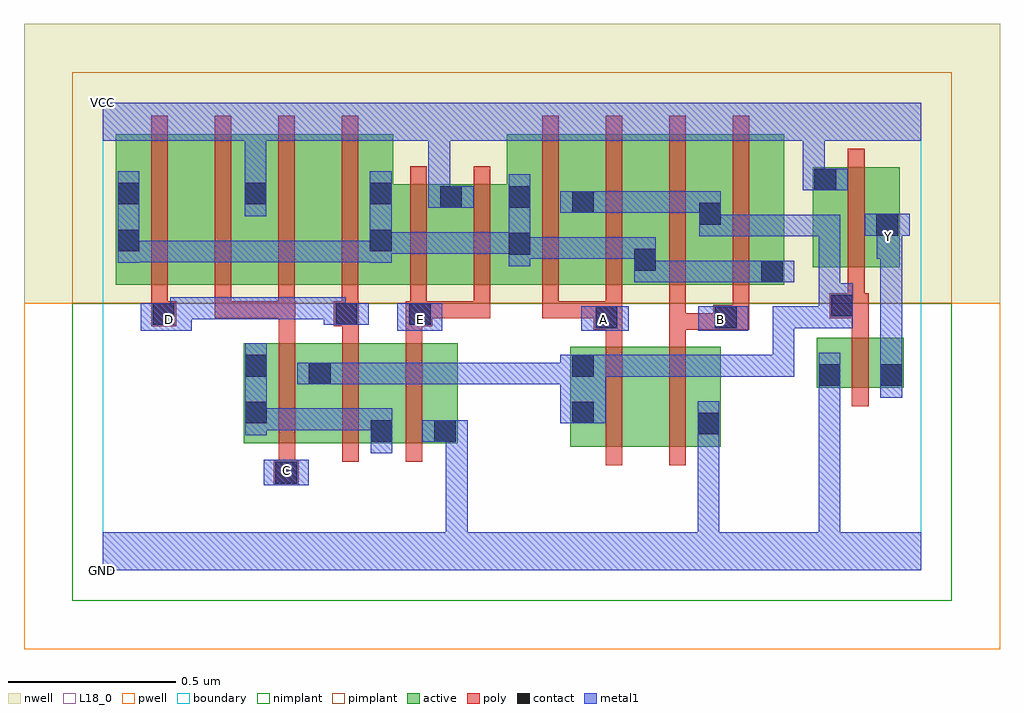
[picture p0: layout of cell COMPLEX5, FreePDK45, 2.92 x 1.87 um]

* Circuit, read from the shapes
.subckt COMPLEX5 A B C D E GND VCC Y
M1 n1 C n2 VSUBS nfet w=0.3u l=0.05u
M2 n2 D n1 VSUBS nfet w=0.3u l=0.05u
M3 GND E n2 VSUBS nfet w=0.3u l=0.05u
M4 n3 A n1 VSUBS nfet w=0.3u l=0.05u
M5 GND B n3 VSUBS nfet w=0.3u l=0.05u
M6 Y n1 GND VSUBS nfet w=0.15u l=0.05u
M7 n4 D n5 n6 pfet w=0.45u l=0.05u
M8 VCC C n4 n6 pfet w=0.45u l=0.05u
M9 n7 C VCC n6 pfet w=0.45u l=0.05u
M10 n5 D n7 n6 pfet w=0.45u l=0.05u
M11 VCC E n5 n6 pfet w=0.3u l=0.05u m=2
M12 n1 A n5 n6 pfet w=0.45u l=0.05u m=2
M13 n1 B n5 n6 pfet w=0.45u l=0.05u m=2
M14 Y n1 VCC n6 pfet w=0.3u l=0.05u
.ends

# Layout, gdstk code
import gdstk
lib = gdstk.Library(unit=1e-6, precision=1e-09)
def R(c, l, rs):  # rectangles x0, y0, x1, y1
    for r in rs: c.add(gdstk.rectangle(r[:2], r[2:], *l))
def A(c, l, x, y, w, h, nx, ny, dx, dy):  # array of equal rectangles
    R(c, l, [(x+i*dx, y+j*dy, x+i*dx+w, y+j*dy+h) for i in range(nx) for j in range(ny)])
active = (1, 0)
pwell = (2, 0)
nwell = (3, 0)
nimplant = (4, 0)
pimplant = (5, 0)
poly = (9, 0)
contact = (10, 0)
metal1 = (11, 0)
L18_0 = (18, 0)
boundary = (235, 0)

complex5 = lib.new_cell('COMPLEX5')
R(complex5, active, [(1.4,0.37,1.625,0.67), (1.625,0.37,1.85,0.67), (1.775,0.37,1.85,0.547), (0.422,0.38,0.687,0.68), (0.612,0.38,0.872,0.68), (0.797,0.38,1.062,0.68), (0.797,0.38,0.872,0.547), (0.987,0.38,1.062,0.68), (1.4,0.382,1.475,0.67), (0.422,0.407,0.497,0.68), (0.612,0.445,0.687,0.627), (2.137,0.547,2.212,0.697), (2.137,0.547,2.397,0.697), (2.322,0.547,2.397,0.697), (0.04,0.855,0.265,1.305), (0.04,0.855,0.145,1.2), (0.265,0.855,0.495,1.305), (0.42,0.855,0.645,1.305), (0.645,0.855,0.87,1.305), (0.795,0.855,0.87,1.2), (0.795,0.855,1.08,1.155), (1.005,0.855,1.285,1.155), (1.21,0.855,1.475,1.305), (1.21,0.855,1.285,1.2), (1.4,0.855,1.66,1.305), (1.585,0.855,1.855,1.305), (1.78,0.855,2.04,1.305), (1.965,0.855,2.04,1.047), (0.42,0.857,0.495,1.305), (1.4,0.857,1.475,1.2), (1.585,0.857,1.66,1.07), (1.78,0.857,1.855,1.2), (2.125,0.907,2.385,1.207), (2.31,0.907,2.385,1.2), (1.005,1.007,1.08,1.155), (2.125,1.007,2.2,1.207)])
R(complex5, pwell, [(-0.235,-0.235,2.685,0.8)])
R(complex5, nwell, [(-0.235,0.8,2.685,1.635)])
R(complex5, nimplant, [(-0.09,-0.09,2.54,0.8)])
R(complex5, pimplant, [(-0.09,0.8,2.54,1.49)])
A(complex5, poly, 0.527, 0.325, 0.05, 0.41, 3, 1, 0.19, 0)
A(complex5, poly, 0.145, 0.755, 0.05, 0.095, 4, 1, 0.19, 0)
A(complex5, poly, 0.145, 0.8, 0.05, 0.56, 4, 1, 0.19, 0)
A(complex5, poly, 1.315, 0.8, 0.05, 0.56, 4, 1, 0.19, 0)
R(complex5, poly, [(0.512,0.255,0.587,0.33), (0.527,0.28,0.577,0.375), (1.505,0.315,1.555,0.77), (1.695,0.315,1.745,0.725), (2.242,0.492,2.292,0.752), (1.695,0.675,1.745,0.77), (0.527,0.685,0.577,0.805), (0.717,0.685,0.767,0.78), (0.907,0.685,0.957,0.78), (2.242,0.702,2.292,0.805), (1.47,0.72,1.555,0.805), (1.505,0.72,1.555,0.77), (1.695,0.72,1.745,0.77), (1.695,0.72,1.877,0.77), (1.695,0.72,1.745,0.85), (1.827,0.72,1.877,0.77), (1.827,0.72,1.877,0.77), (1.827,0.72,1.935,0.795), (0.145,0.73,0.22,0.805), (0.692,0.73,0.767,0.805), (0.907,0.73,0.987,0.805), (1.885,0.745,1.935,0.85), (0.335,0.755,0.385,0.805), (0.335,0.755,0.385,0.805), (0.335,0.755,0.385,0.805), (0.335,0.755,0.575,0.805), (0.525,0.755,0.577,0.805), (0.92,0.755,0.97,0.85), (0.937,0.755,0.987,0.805), (0.937,0.755,0.987,0.805), (0.937,0.755,1.16,0.805), (1.11,0.755,1.16,0.805), (1.11,0.755,1.16,0.85), (1.315,0.755,1.365,0.805), (1.315,0.755,1.365,0.805), (1.315,0.755,1.365,0.805), (1.315,0.755,1.365,0.85), (1.315,0.755,1.52,0.805), (1.505,0.755,1.555,0.85), (2.175,0.755,2.292,0.83), (2.23,0.78,2.28,0.902), (0.92,0.8,0.97,1.21), (1.11,0.8,1.16,1.21), (2.23,0.852,2.28,1.262)])
R(complex5, contact, [(0.517,0.26,0.582,0.325), (0.802,0.385,0.867,0.45), (0.992,0.385,1.057,0.45), (1.78,0.407,1.845,0.472), (0.427,0.44,0.492,0.505), (1.405,0.44,1.47,0.505), (2.142,0.552,2.207,0.617), (2.327,0.552,2.392,0.617), (0.617,0.557,0.682,0.622), (0.427,0.58,0.492,0.645), (1.405,0.58,1.47,0.645), (1.475,0.725,1.54,0.79), (1.832,0.725,1.897,0.79), (0.15,0.735,0.215,0.8), (0.697,0.735,0.762,0.8), (0.917,0.735,0.982,0.8), (2.18,0.76,2.245,0.825), (1.97,0.862,2.035,0.927), (1.59,0.897,1.655,0.962), (1.215,0.945,1.28,1.01), (0.045,0.955,0.11,1.02), (0.8,0.955,0.865,1.02), (2.315,1.002,2.38,1.067), (1.785,1.035,1.85,1.1), (1.405,1.07,1.47,1.135), (1.01,1.085,1.075,1.15), (1.215,1.085,1.28,1.15), (0.045,1.095,0.11,1.16), (0.425,1.095,0.49,1.16), (0.8,1.095,0.865,1.16), (2.13,1.137,2.195,1.202)])
R(complex5, metal1, [(0,0,2.45,0.115), (1.027,0.05,1.092,0.115), (1.027,0.05,1.092,0.115), (1.027,0.05,1.092,0.115), (1.027,0.05,1.092,0.115), (1.027,0.05,1.092,0.115), (1.027,0.05,1.092,0.115), (1.027,0.05,1.092,0.45), (1.78,0.05,1.845,0.115), (1.78,0.05,1.845,0.115), (1.78,0.05,1.845,0.437), (2.142,0.05,2.207,0.582), (0.482,0.255,0.617,0.332), (0.802,0.35,0.867,0.485), (1.78,0.372,1.845,0.437), (1.78,0.372,1.845,0.437), (1.78,0.372,1.845,0.437), (1.78,0.372,1.845,0.437), (1.78,0.372,1.845,0.507), (0.957,0.385,1.092,0.45), (0.427,0.405,0.492,0.68), (0.427,0.42,0.58,0.485), (0.515,0.42,0.58,0.485), (0.515,0.42,0.727,0.485), (0.662,0.42,0.727,0.485), (0.662,0.42,0.727,0.485), (0.662,0.42,0.727,0.485), (0.662,0.42,0.867,0.485), (1.37,0.44,1.505,0.645), (2.142,0.517,2.207,0.582), (2.142,0.517,2.207,0.582), (2.142,0.517,2.207,0.582), (2.142,0.517,2.207,0.582), (2.142,0.517,2.207,0.582), (2.142,0.517,2.207,0.582), (2.142,0.517,2.207,0.582), (2.142,0.517,2.207,0.582), (2.142,0.517,2.207,0.652), (2.327,0.517,2.392,0.652), (0.582,0.557,0.717,0.622), (0.652,0.557,0.717,0.622), (0.652,0.557,0.717,0.622), (0.652,0.557,0.867,0.622), (0.802,0.557,0.867,0.622), (0.802,0.557,0.867,0.622), (0.802,0.557,0.867,0.622), (0.802,0.557,1.005,0.622), (0.94,0.557,1.005,0.622), (0.94,0.557,1.005,0.622), (0.94,0.557,1.005,0.622), (0.94,0.557,1.142,0.622), (1.077,0.557,1.142,0.622), (1.077,0.557,1.142,0.622), (1.077,0.557,1.142,0.622), (1.077,0.557,1.435,0.622), (1.44,0.58,1.505,0.645), (1.44,0.58,1.505,0.645), (1.44,0.58,1.642,0.645), (1.577,0.58,1.642,0.645), (1.577,0.58,1.642,0.645), (1.577,0.58,1.642,0.645), (1.577,0.58,1.862,0.645), (1.797,0.58,1.862,0.645), (1.797,0.58,2.022,0.645), (1.957,0.58,2.022,0.645), (1.957,0.58,2.07,0.645), (2.005,0.58,2.07,0.79), (2.327,0.587,2.392,0.997), (0.115,0.717,0.267,0.8), (0.882,0.717,1.017,0.8), (1.432,0.717,1.575,0.79), (1.782,0.717,1.932,0.79), (2.005,0.725,2.207,0.79), (2.142,0.725,2.207,0.79), (2.142,0.725,2.207,0.79), (2.142,0.725,2.207,0.79), (2.142,0.725,2.245,0.79), (2.142,0.725,2.207,1.065), (2.18,0.725,2.245,0.86), (0.202,0.735,0.267,0.8), (0.202,0.735,0.267,0.817), (0.662,0.735,0.727,0.8), (0.662,0.735,0.797,0.8), (0.662,0.735,0.727,0.817), (0.202,0.752,0.405,0.817), (0.34,0.752,0.405,0.817), (0.34,0.752,0.405,0.817), (0.34,0.752,0.405,0.817), (0.34,0.752,0.58,0.817), (0.515,0.752,0.58,0.817), (0.515,0.752,0.727,0.817), (1.59,0.862,1.655,0.927), (1.59,0.862,1.655,0.927), (1.59,0.862,1.655,0.997), (1.59,0.862,1.862,0.927), (1.797,0.862,1.862,0.927), (1.797,0.862,2,0.927), (1.935,0.862,2,0.927), (1.935,0.862,2,0.927), (1.935,0.862,2.07,0.927), (1.215,0.91,1.28,1.185), (0.045,0.92,0.11,1.195), (0.8,0.92,0.865,1.195), (0.045,0.922,0.11,0.987), (0.045,0.922,0.11,0.987), (0.045,0.922,0.247,0.987), (0.182,0.922,0.247,0.987), (0.182,0.922,0.405,0.987), (0.34,0.922,0.405,0.987), (0.34,0.922,0.405,0.987), (0.34,0.922,0.405,0.987), (0.34,0.922,0.542,0.987), (0.477,0.922,0.542,0.987), (0.477,0.922,0.727,0.987), (0.662,0.922,0.727,0.987), (0.662,0.922,0.727,0.987), (0.662,0.922,0.727,0.987), (0.662,0.922,0.865,0.987), (1.215,0.932,1.28,0.997), (1.215,0.932,1.28,0.997), (1.215,0.932,1.505,0.997), (1.44,0.932,1.505,0.997), (1.44,0.932,1.505,0.997), (1.44,0.932,1.505,0.997), (1.44,0.932,1.655,0.997), (2.317,0.932,2.392,1.067), (0.8,0.947,0.865,1.012), (0.8,0.947,0.865,1.012), (0.8,0.947,1.005,1.012), (0.94,0.947,1.005,1.012), (0.94,0.947,1.005,1.012), (0.94,0.947,1.005,1.012), (0.94,0.947,1.28,1.012), (1.785,1,1.85,1.135), (1.785,1,2.022,1.065), (1.957,1,2.022,1.065), (1.957,1,2.022,1.065), (1.957,1,2.022,1.065), (1.957,1,2.207,1.065), (2.142,1,2.207,1.065), (2.142,1,2.207,1.065), (2.142,1,2.207,1.065), (2.28,1.002,2.415,1.067), (2.317,1.002,2.382,1.067), (0.425,1.06,0.49,1.195), (1.37,1.07,1.505,1.135), (1.44,1.07,1.505,1.135), (1.44,1.07,1.505,1.135), (1.44,1.07,1.642,1.135), (1.577,1.07,1.642,1.135), (1.577,1.07,1.642,1.135), (1.577,1.07,1.642,1.135), (1.577,1.07,1.85,1.135), (0.975,1.085,1.11,1.15), (0.975,1.085,1.04,1.35), (0.425,1.13,0.49,1.35), (2.095,1.137,2.16,1.202), (2.095,1.137,2.16,1.202), (2.095,1.137,2.23,1.202), (2.095,1.137,2.16,1.35), (0,1.285,2.45,1.4), (0.975,1.285,1.04,1.35), (0.975,1.285,1.04,1.35)])
R(complex5, L18_0, [(0,0,2.45,0.115), (1.027,0.05,1.092,0.115), (1.027,0.05,1.092,0.115), (1.027,0.05,1.092,0.115), (1.027,0.05,1.092,0.115), (1.027,0.05,1.092,0.115), (1.027,0.05,1.092,0.115), (1.027,0.05,1.092,0.45), (1.78,0.05,1.845,0.115), (1.78,0.05,1.845,0.115), (1.78,0.05,1.845,0.437), (2.142,0.05,2.207,0.582), (0.482,0.255,0.617,0.332), (0.517,0.267,0.582,0.332), (1.78,0.372,1.845,0.437), (1.78,0.372,1.845,0.437), (1.78,0.372,1.845,0.437), (1.78,0.372,1.845,0.437), (1.78,0.372,1.845,0.507), (0.957,0.385,1.092,0.45), (2.142,0.517,2.207,0.582), (2.142,0.517,2.207,0.582), (2.142,0.517,2.207,0.582), (2.142,0.517,2.207,0.582), (2.142,0.517,2.207,0.582), (2.142,0.517,2.207,0.582), (2.142,0.517,2.207,0.582), (2.142,0.517,2.207,0.582), (2.142,0.517,2.207,0.652), (2.327,0.517,2.392,0.652), (2.327,0.587,2.392,0.997), (0.115,0.717,0.267,0.8), (0.167,0.717,0.232,0.782), (0.882,0.717,1.017,0.8), (0.917,0.717,0.982,0.782), (1.432,0.717,1.575,0.79), (1.467,0.717,1.532,0.782), (1.782,0.717,1.932,0.79), (1.817,0.717,1.882,0.782), (0.202,0.735,0.267,0.817), (0.202,0.735,0.267,0.8), (0.662,0.735,0.727,0.817), (0.662,0.735,0.727,0.8), (0.662,0.735,0.797,0.8), (0.202,0.752,0.405,0.817), (0.34,0.752,0.405,0.817), (0.34,0.752,0.405,0.817), (0.34,0.752,0.405,0.817), (0.34,0.752,0.58,0.817), (0.515,0.752,0.58,0.817), (0.515,0.752,0.727,0.817), (2.317,0.932,2.392,1.067), (2.317,0.967,2.382,1.032), (2.28,1.002,2.415,1.067), (2.317,1.002,2.382,1.067), (0.425,1.06,0.49,1.195), (0.975,1.085,1.11,1.15), (0.975,1.085,1.04,1.35), (0.425,1.13,0.49,1.35), (2.095,1.137,2.16,1.202), (2.095,1.137,2.16,1.202), (2.095,1.137,2.23,1.202), (2.095,1.137,2.16,1.35), (0,1.285,2.45,1.4), (0.975,1.285,1.04,1.35), (0.975,1.285,1.04,1.35)])
R(complex5, boundary, [(0,0,2.45,1.4)])
complex5.add(gdstk.Label('A', (1.5,0.75), layer=11, texttype=0))
complex5.add(gdstk.Label('B', (1.85,0.75), layer=11, texttype=0))
complex5.add(gdstk.Label('C', (0.55,0.3), layer=11, texttype=0))
complex5.add(gdstk.Label('D', (0.2,0.75), layer=11, texttype=0))
complex5.add(gdstk.Label('E', (0.95,0.75), layer=11, texttype=0))
complex5.add(gdstk.Label('Y', (2.35,1), layer=11, texttype=0))
complex5.add(gdstk.Label('VCC', (0,1.4), layer=11, texttype=0))
complex5.add(gdstk.Label('GND', (0,0), layer=11, texttype=0))

lib.write_gds('COMPLEX5.gds')
